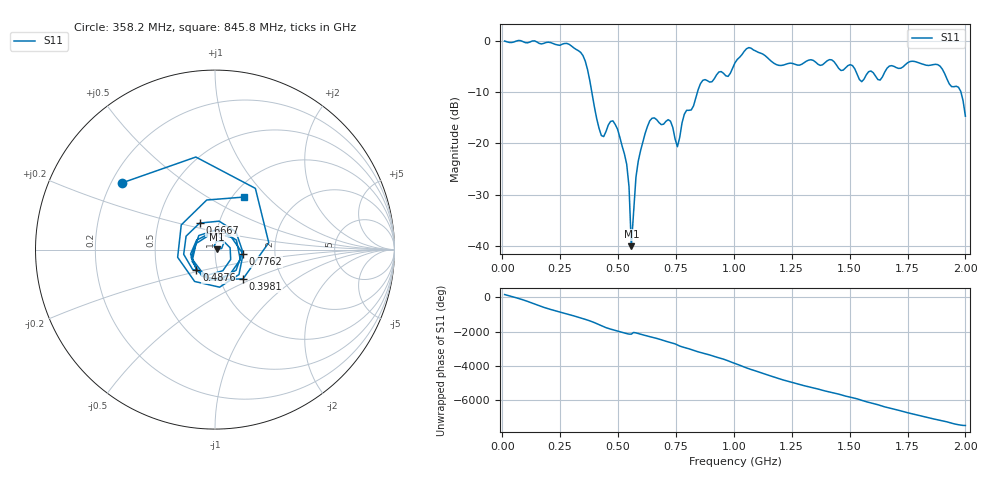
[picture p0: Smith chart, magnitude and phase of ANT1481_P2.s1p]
!Created with skrf (http://scikit-rf.org).
# Hz S RI R 50.0
!freq ReS11 ImS11
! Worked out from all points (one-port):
!   201 points, 10 MHz to 2 GHz, reference 50 ohm
!   lowest |S11| = -40.1 dB at 557.2 MHz (marker M1), VSWR 1.02, Z = 51 + j0.125 ohm
!   |S11| at or under -10 dB: 386.6 MHz to 842.6 MHz (456 MHz wide, 74.2 % of centre); 1.981 GHz to end of sweep
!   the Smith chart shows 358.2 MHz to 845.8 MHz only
!   S11 on the Smith chart (normalised r, x): 358.2 MHz: 0.24, +0.30; 398.1 MHz: 1.28, -0.44; 487.6 MHz: 0.79, -0.18; 666.7 MHz: 0.81, +0.25; 776.1 MHz: 1.37, -0.07; 845.8 MHz: 1.13, +0.74
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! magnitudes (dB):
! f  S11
! 10 MHz  0.0
! 258.8 MHz  -0.6
! 358.2 MHz  -3.9
! 398.1 MHz  -12.9
! 427.9 MHz  -18.4
! 487.6 MHz  -16.3
! 507.5 MHz  -18.8
! 537.4 MHz  -24.1
! 547.3 MHz  -28.4
! 557.2 MHz  -40.1
! 577.1 MHz  -26.6
! 587.1 MHz  -23.5
! 636.9 MHz  -15.6
! 666.7 MHz  -15.4
! 726.4 MHz  -15.7
! 756.2 MHz  -20.6
! 776.1 MHz  -16.0
! 845.8 MHz  -9.5
! 975.1 MHz  -6.9
! 1.005 GHz  -4.2
! 1.065 GHz  -1.3
! 1.254 GHz  -4.4
! 1.502 GHz  -4.6
! 1.552 GHz  -7.9
! 1.751 GHz  -4.2
! 1.891 GHz  -4.9
! 1.98 GHz  -9.8
! 2 GHz  -14.7
